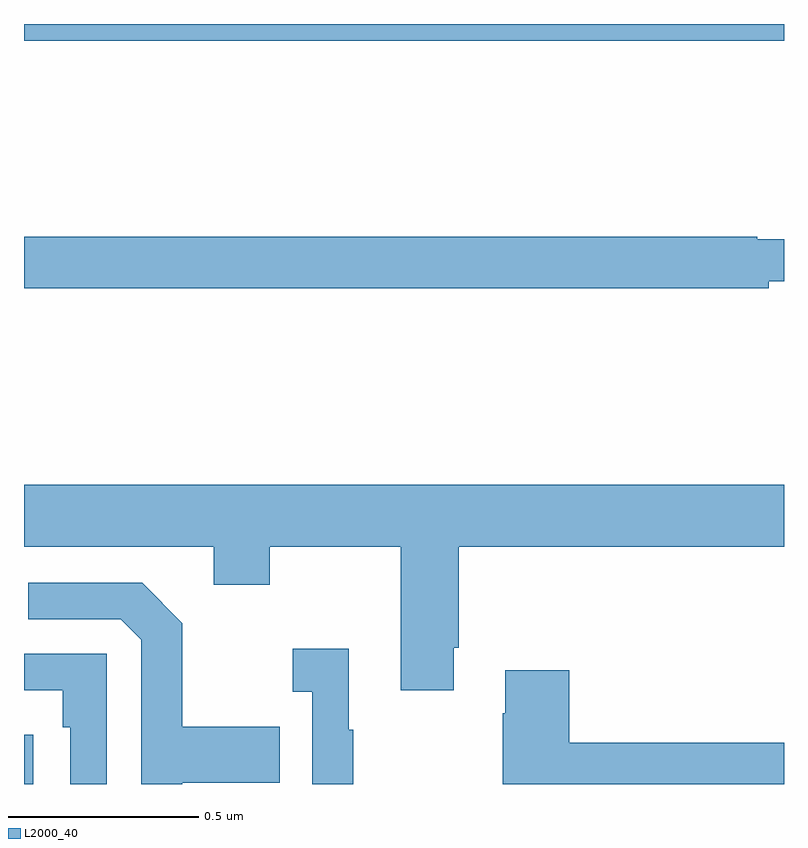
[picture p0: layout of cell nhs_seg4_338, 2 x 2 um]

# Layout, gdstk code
import gdstk
lib = gdstk.Library(unit=1e-6, precision=1e-09)
def R(c, l, rs):  # rectangles x0, y0, x1, y1
    for r in rs: c.add(gdstk.rectangle(r[:2], r[2:], *l))
def P(c, l, *ps):  # polygons
    for p in ps: c.add(gdstk.Polygon(p, *l))
L2000_40 = (2000, 40)

nhs_seg4_338 = lib.new_cell('nhs_seg4_338')
R(nhs_seg4_338, L2000_40, [(115,758.9,115.024,759.03), (115,760.856,117,760.9)])
P(nhs_seg4_338, L2000_40, [(116.96,760.223),(117,760.223),(117,760.333),(116.93,760.333),(116.93,760.34),(115,760.34),(115,760.204),(116.96,760.204)],
  [(116.131,759.259),(116.144,759.259),(116.144,759.524),(117,759.524),(117,759.688),(115,759.688),(115,759.524),(115.499,759.524),(115.499,759.425),(115.647,759.425),(115.647,759.524),(115.991,759.524),(115.991,759.147),(116.131,759.147)],
  [(115.417,758.903),(115.673,758.903),(115.673,759.051),(115.417,759.051),(115.417,759.323),(115.311,759.429),(115.011,759.429),(115.011,759.333),(115.254,759.333),(115.308,759.279),(115.308,758.9),(115.417,758.9)],
  [(115.867,759.043),(115.855,759.043),(115.855,759.256),(115.707,759.256),(115.707,759.143),(115.758,759.143),(115.758,758.9),(115.867,758.9)],
  [(115.218,759.243),(115,759.243),(115,759.147),(115.102,759.147),(115.102,759.05),(115.122,759.05),(115.122,758.9),(115.218,758.9)],
  [(117,759.008),(116.435,759.008),(116.435,759.199),(116.267,759.199),(116.267,759.086),(116.26,759.086),(116.26,758.9),(117,758.9)])

lib.write_gds('nhs_seg4_338.gds')
